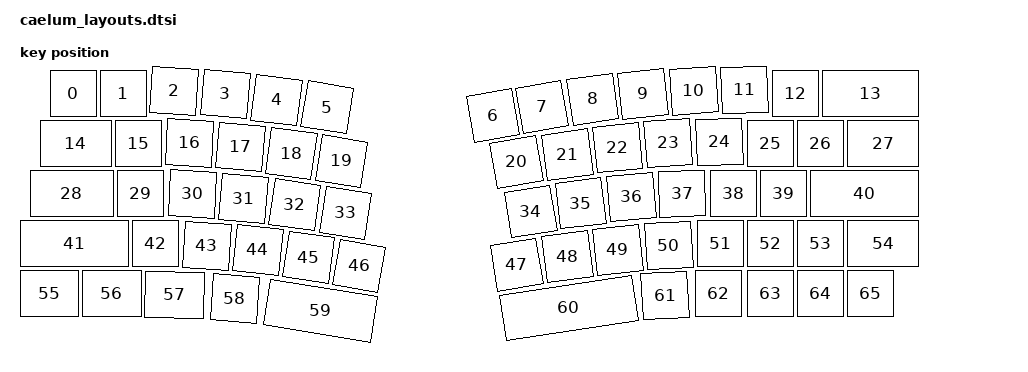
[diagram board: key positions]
#include <physical_layouts.dtsi>

/ {
    caelum_layout: caelum_layout {
        compatible = "zmk,physical-layout";
        display-name = "Default Layout";

        keys  //                     w   h    x    y     rot    rx    ry
            = <&key_physical_attrs 100 100   60   93       0     0     0>
            , <&key_physical_attrs 100 100  160   93       0     0     0>
            , <&key_physical_attrs 100 100  269   64     300 (-135)  (-7)>
            , <&key_physical_attrs 100 100  376   45     500 (-135)  (-7)>
            , <&key_physical_attrs 100 100  482   25     700 (-135)  (-7)>
            , <&key_physical_attrs 100 100  587    0     900 (-135)  (-7)>
            , <&key_physical_attrs 100 100  850  322 (-1000) (-135)  (-7)>
            , <&key_physical_attrs 100 100  950  322 (-1000) (-135)  (-7)>
            , <&key_physical_attrs 100 100 1065  281  (-800) (-135)  (-7)>
            , <&key_physical_attrs 100 100 1177  237  (-600) (-135)  (-7)>
            , <&key_physical_attrs 100 100 1288  190  (-400) (-135)  (-7)>
            , <&key_physical_attrs 100 100 1397  141  (-200) (-135)  (-7)>
            , <&key_physical_attrs 100 100 1505   93       0     0     0>
            , <&key_physical_attrs 200 100 1605   93       0     0     0>
            , <&key_physical_attrs 150 100   40  193       0     0     0>
            , <&key_physical_attrs 100 100  190  193       0     0     0>
            , <&key_physical_attrs 100 100  305  166     300 (-135)  (-7)>
            , <&key_physical_attrs 100 100  415  148     500 (-135)  (-7)>
            , <&key_physical_attrs 100 100  527  115     800 (-135)  (-7)>
            , <&key_physical_attrs 100 100  632  102     900 (-135)  (-7)>
            , <&key_physical_attrs 100 100  880  422 (-1000) (-135)  (-7)>
            , <&key_physical_attrs 100 100  999  384  (-800) (-135)  (-7)>
            , <&key_physical_attrs 100 100 1115  339  (-600) (-135)  (-7)>
            , <&key_physical_attrs 100 100 1230  291  (-400) (-135)  (-7)>
            , <&key_physical_attrs 100 100 1344  243  (-200) (-135)  (-7)>
            , <&key_physical_attrs 100 100 1455  193       0     0     0>
            , <&key_physical_attrs 100 100 1555  193       0     0     0>
            , <&key_physical_attrs 150 100 1655  193       0     0     0>
            , <&key_physical_attrs 175 100   20  293       0     0     0>
            , <&key_physical_attrs 100 100  195  293       0     0     0>
            , <&key_physical_attrs 100 100  317  268     300 (-135)  (-7)>
            , <&key_physical_attrs 100 100  430  250     500 (-135)  (-7)>
            , <&key_physical_attrs 100 100  549  216     800 (-135)  (-7)>
            , <&key_physical_attrs 100 100  656  203     900 (-135)  (-7)>
            , <&key_physical_attrs 100 100  901  505  (-900) (-135)  (-7)>
            , <&key_physical_attrs 100 100 1021  463  (-700) (-135)  (-7)>
            , <&key_physical_attrs 100 100 1140  417  (-500) (-135)  (-7)>
            , <&key_physical_attrs 100 100 1265  344  (-200) (-135)  (-7)>
            , <&key_physical_attrs 100 100 1380  293       0     0     0>
            , <&key_physical_attrs 100 100 1480  293       0     0     0>
            , <&key_physical_attrs 225 100 1580  293       0     0     0>
            , <&key_physical_attrs 225 100    0  393       0     0     0>
            , <&key_physical_attrs 100 100  225  393       0     0     0>
            , <&key_physical_attrs 100 100  351  370     300 (-135)  (-7)>
            , <&key_physical_attrs 100 100  475  339     600 (-135)  (-7)>
            , <&key_physical_attrs 100 100  591  316     800 (-135)  (-7)>
            , <&key_physical_attrs 100 100  706  288    1000 (-135)  (-7)>
            , <&key_physical_attrs 100 100  851  615  (-950) (-135)  (-7)>
            , <&key_physical_attrs 100 100  976  576  (-750) (-135)  (-7)>
            , <&key_physical_attrs 100 100 1094  542  (-600) (-135)  (-7)>
            , <&key_physical_attrs 100 100 1226  471  (-300) (-135)  (-7)>
            , <&key_physical_attrs 100 100 1355  393       0     0     0>
            , <&key_physical_attrs 100 100 1455  393       0     0     0>
            , <&key_physical_attrs 100 100 1555  393       0     0     0>
            , <&key_physical_attrs 150 100 1655  393       0     0     0>
            , <&key_physical_attrs 125 100    0  493       0     0     0>
            , <&key_physical_attrs 125 100  125  493       0     0     0>
            , <&key_physical_attrs 125 100  265  484     150 (-135)  (-7)>
            , <&key_physical_attrs 100 100  426  456     450 (-135)  (-7)>
            , <&key_physical_attrs 225 100  577  400     930 (-135)  (-7)>
            , <&key_physical_attrs 275 100  861  704  (-880) (-135)  (-7)>
            , <&key_physical_attrs 100 100 1210  578  (-330) (-135)  (-7)>
            , <&key_physical_attrs 100 100 1350  493       0     0     0>
            , <&key_physical_attrs 100 100 1455  493       0     0     0>
            , <&key_physical_attrs 100 100 1555  493       0     0     0>
            , <&key_physical_attrs 100 100 1655  493       0     0     0>
            ;
    };
};
